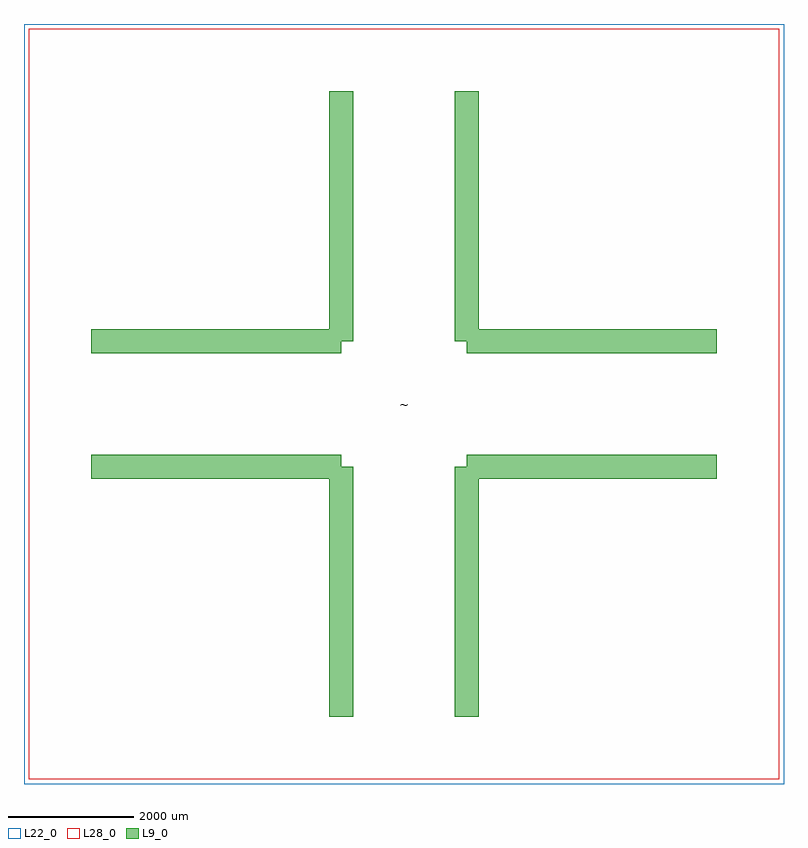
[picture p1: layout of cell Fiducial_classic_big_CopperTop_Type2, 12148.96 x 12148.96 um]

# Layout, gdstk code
import gdstk
lib = gdstk.Library(unit=1e-6, precision=1e-09)
def R(c, l, rs):  # rectangles x0, y0, x1, y1
    for r in rs: c.add(gdstk.rectangle(r[:2], r[2:], *l))
L9_0 = (9, 0)
L22_0 = (22, 0)
L28_0 = (28, 0)

fiducial_classic_big_cop = lib.new_cell('Fiducial_classic_big_CopperTop_Type2')
R(fiducial_classic_big_cop, L22_0, [(-6074.48,-6074.48,6074.48,6074.48)])
R(fiducial_classic_big_cop, L28_0, [(-5999.48,-5999.48,5999.48,5999.48)])
fiducial_classic_big_cop.add(gdstk.FlexPath([(1000.76,1000.76),(1000.76,5001.26)], 380.998, ends="flush", simple_path=True, layer=9, datatype=0))  # L9_0
fiducial_classic_big_cop.add(gdstk.FlexPath([(1000.76,1000.76),(5001.26,1000.76)], 380.998, ends="flush", simple_path=True, layer=9, datatype=0))  # L9_0
fiducial_classic_big_cop.add(gdstk.FlexPath([(1000.76,-1000.76),(5001.26,-1000.76)], 380.998, ends="flush", simple_path=True, layer=9, datatype=0))  # L9_0
fiducial_classic_big_cop.add(gdstk.FlexPath([(1000.76,-1000.76),(1000.76,-5001.26)], 380.998, ends="flush", simple_path=True, layer=9, datatype=0))  # L9_0
fiducial_classic_big_cop.add(gdstk.FlexPath([(-1000.76,1000.76),(-1000.76,5001.26)], 380.998, ends="flush", simple_path=True, layer=9, datatype=0))  # L9_0
fiducial_classic_big_cop.add(gdstk.FlexPath([(-1000.76,1000.76),(-5001.26,1000.76)], 380.998, ends="flush", simple_path=True, layer=9, datatype=0))  # L9_0
fiducial_classic_big_cop.add(gdstk.FlexPath([(-1000.76,-1000.76),(-5001.26,-1000.76)], 380.998, ends="flush", simple_path=True, layer=9, datatype=0))  # L9_0
fiducial_classic_big_cop.add(gdstk.FlexPath([(-1000.76,-1000.76),(-1000.76,-5001.26)], 380.998, ends="flush", simple_path=True, layer=9, datatype=0))  # L9_0
fiducial_classic_big_cop.add(gdstk.Label('~', (0,0), layer=28, texttype=0))
fiducial_classic_big_cop.add(gdstk.Label('type', (-1021.08,-10728.96), layer=9, texttype=0))
fiducial_classic_big_cop.add(gdstk.Label('devicename', (0,7366), layer=9, texttype=0))

lib.write_gds('Fiducial_classic_big_CopperTop_Type2.gds')
